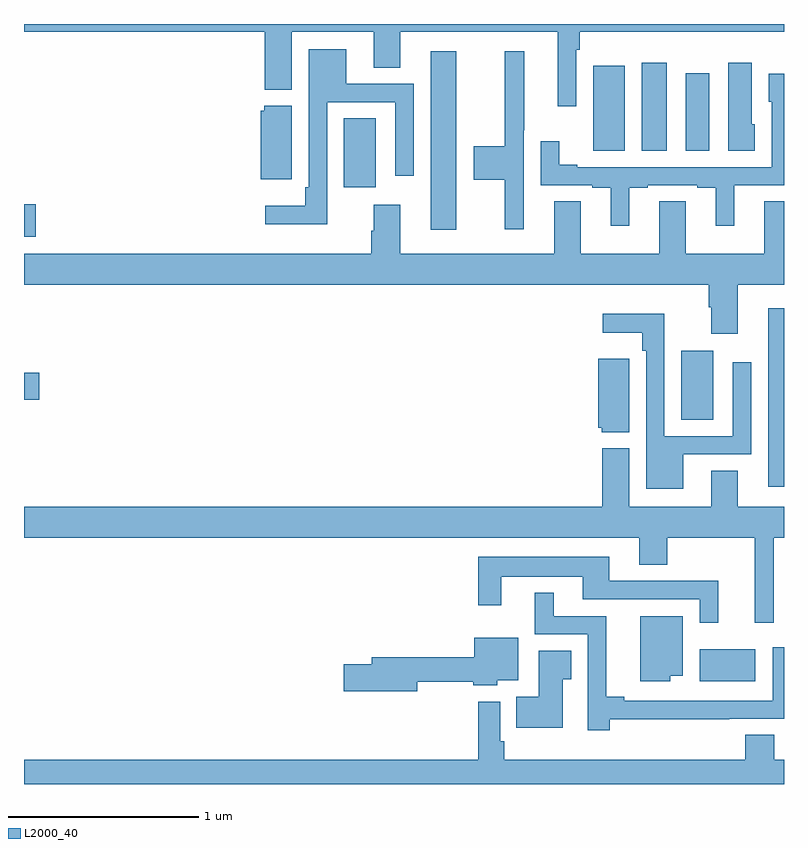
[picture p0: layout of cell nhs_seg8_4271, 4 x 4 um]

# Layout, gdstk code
import gdstk
lib = gdstk.Library(unit=1e-6, precision=1e-09)
def R(c, l, rs):  # rectangles x0, y0, x1, y1
    for r in rs: c.add(gdstk.rectangle(r[:2], r[2:], *l))
def P(c, l, *ps):  # polygons
    for p in ps: c.add(gdstk.Polygon(p, *l))
L2000_40 = (2000, 40)

nhs_seg8_4271 = lib.new_cell('nhs_seg8_4271')
R(nhs_seg8_4271, L2000_40, [(376.556,1086.44,376.849,1086.61), (376.916,1087.464,377,1088.404), (376.46,1087.816,376.627,1088.179), (373,1087.922,373.081,1088.064), (373,1088.78,373.063,1088.951), (375.14,1088.817,375.274,1089.757), (374.684,1089.042,374.851,1089.404), (375.995,1089.232,376.162,1089.679), (376.25,1089.232,376.384,1089.697), (376.484,1089.232,376.606,1089.64)])
P(nhs_seg8_4271, L2000_40, [(375.906,1089.764),(375.926,1089.764),(375.926,1089.86),(377,1089.86),(377,1089.9),(373,1089.9),(373,1089.86),(374.267,1089.86),(374.267,1089.554),(374.41,1089.554),(374.41,1089.86),(374.84,1089.86),(374.84,1089.67),(374.98,1089.67),(374.98,1089.86),(375.809,1089.86),(375.809,1089.468),(375.906,1089.468)],
  [(374.595,1089.489),(374.955,1089.489),(374.955,1089.102),(375.051,1089.102),(375.051,1089.585),(374.695,1089.585),(374.695,1089.766),(374.499,1089.766),(374.499,1089.04),(374.479,1089.04),(374.479,1088.944),(374.271,1088.944),(374.271,1088.846),(374.595,1088.846)],
  [(375.63,1089.34),(375.632,1089.34),(375.632,1089.757),(375.529,1089.757),(375.529,1089.257),(375.366,1089.257),(375.366,1089.079),(375.529,1089.079),(375.529,1088.82),(375.63,1088.82)],
  [(376.846,1089.372),(376.831,1089.372),(376.831,1089.697),(376.706,1089.697),(376.706,1089.232),(376.846,1089.232)],
  [(376.186,1089.039),(376.282,1089.039),(376.282,1089.051),(376.544,1089.051),(376.544,1089.039),(376.64,1089.039),(376.64,1088.838),(376.738,1088.838),(376.738,1089.051),(377,1089.051),(377,1089.637),(376.919,1089.637),(376.919,1089.492),(376.935,1089.492),(376.935,1089.147),(375.913,1089.147),(375.913,1089.16),(375.817,1089.16),(375.817,1089.283),(375.72,1089.283),(375.72,1089.051),(375.992,1089.051),(375.992,1089.039),(376.088,1089.039),(376.088,1088.838),(376.186,1088.838)],
  [(374.41,1089.469),(374.265,1089.469),(374.265,1089.444),(374.246,1089.444),(374.246,1089.083),(374.41,1089.083)],
  [(376.756,1088.528),(377,1088.528),(377,1088.966),(376.895,1088.966),(376.895,1088.692),(376.483,1088.692),(376.483,1088.966),(376.343,1088.966),(376.343,1088.692),(375.931,1088.692),(375.931,1088.966),(375.791,1088.966),(375.791,1088.692),(374.98,1088.692),(374.98,1088.95),(374.84,1088.95),(374.84,1088.813),(374.828,1088.813),(374.828,1088.692),(373,1088.692),(373,1088.528),(376.604,1088.528),(376.604,1088.408),(376.616,1088.408),(376.616,1088.271),(376.756,1088.271)],
  [(376.471,1087.635),(376.827,1087.635),(376.827,1088.119),(376.731,1088.119),(376.731,1087.731),(376.371,1087.731),(376.371,1088.374),(376.047,1088.374),(376.047,1088.276),(376.255,1088.276),(376.255,1088.18),(376.275,1088.18),(376.275,1087.454),(376.471,1087.454)],
  [(376.186,1088.137),(376.022,1088.137),(376.022,1087.776),(376.041,1087.776),(376.041,1087.751),(376.186,1087.751)],
  [(376.946,1087.196),(377,1087.196),(377,1087.36),(376.756,1087.36),(376.756,1087.55),(376.616,1087.55),(376.616,1087.36),(376.186,1087.36),(376.186,1087.666),(376.043,1087.666),(376.043,1087.36),(373,1087.36),(373,1087.196),(376.238,1087.196),(376.238,1087.054),(376.386,1087.054),(376.386,1087.196),(376.847,1087.196),(376.847,1086.75),(376.946,1086.75)],
  [(376.655,1086.969),(376.081,1086.969),(376.081,1087.096),(375.39,1087.096),(375.39,1086.84),(375.511,1086.84),(375.511,1086.992),(375.941,1086.992),(375.941,1086.873),(376.557,1086.873),(376.557,1086.75),(376.655,1086.75)],
  [(376.082,1086.242),(376.712,1086.242),(376.712,1086.243),(377,1086.243),(377,1086.619),(376.941,1086.619),(376.941,1086.339),(376.159,1086.339),(376.159,1086.359),(376.064,1086.359),(376.064,1086.783),(375.787,1086.783),(375.787,1086.907),(375.689,1086.907),(375.689,1086.687),(375.966,1086.687),(375.966,1086.183),(376.082,1086.183)],
  [(376.402,1086.47),(376.468,1086.47),(376.468,1086.784),(376.244,1086.784),(376.244,1086.44),(376.402,1086.44)],
  [(375.07,1086.438),(375.364,1086.438),(375.364,1086.419),(375.492,1086.419),(375.492,1086.446),(375.601,1086.446),(375.601,1086.67),(375.371,1086.67),(375.371,1086.566),(374.831,1086.566),(374.831,1086.53),(374.682,1086.53),(374.682,1086.388),(375.07,1086.388)],
  [(375.835,1086.451),(375.881,1086.451),(375.881,1086.602),(375.71,1086.602),(375.71,1086.358),(375.592,1086.358),(375.592,1086.197),(375.835,1086.197)],
  [(377,1086.028),(376.948,1086.028),(376.948,1086.158),(376.796,1086.158),(376.796,1086.028),(375.527,1086.028),(375.527,1086.124),(375.507,1086.124),(375.507,1086.334),(375.391,1086.334),(375.391,1086.028),(373,1086.028),(373,1085.9),(377,1085.9)])

lib.write_gds('nhs_seg8_4271.gds')
